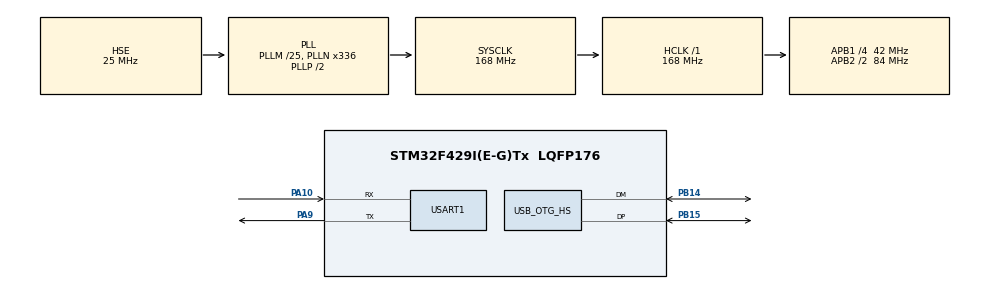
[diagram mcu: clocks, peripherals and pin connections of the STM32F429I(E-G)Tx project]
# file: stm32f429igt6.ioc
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Mcu.Family=STM32F4
Mcu.Name=STM32F429I(E-G)Tx
Mcu.Package=LQFP176
NVIC.OTG_HS_IRQn=true\:0\:0\:false\:false\:true\:true\:true
NVIC.PriorityGroup=NVIC_PRIORITYGROUP_4
PA10.Mode=Asynchronous
PA10.Signal=USART1_RX
PA9.Mode=Asynchronous
PA9.Signal=USART1_TX
PB14.Mode=Device_Only_FS
PB14.Signal=USB_OTG_HS_DM
PB15.Mode=Device_Only_FS
PB15.Signal=USB_OTG_HS_DP
PH0/OSC_IN.Mode=HSE-External-Oscillator
PH0/OSC_IN.Signal=RCC_OSC_IN
PH1/OSC_OUT.Mode=HSE-External-Oscillator
PH1/OSC_OUT.Signal=RCC_OSC_OUT
ProjectManager.HeapSize=0x200
ProjectManager.StackSize=0x400
ProjectManager.TargetToolchain=MDK-ARM V5.27
RCC.48MHZClocksFreq_Value=48000000
RCC.AHBFreq_Value=168000000
RCC.APB1CLKDivider=RCC_HCLK_DIV4
RCC.APB1Freq_Value=42000000
RCC.APB1TimFreq_Value=84000000
RCC.APB2CLKDivider=RCC_HCLK_DIV2
RCC.APB2Freq_Value=84000000
RCC.APB2TimFreq_Value=168000000
RCC.CortexFreq_Value=168000000
RCC.HCLKFreq_Value=168000000
RCC.HSE_VALUE=25000000
RCC.HSI_VALUE=16000000
RCC.LSE_VALUE=32768
RCC.PLLM=25
RCC.PLLN=336
RCC.PLLQ=7
RCC.SYSCLKFreq_VALUE=168000000
RCC.SYSCLKSource=RCC_SYSCLKSOURCE_PLLCLK
RCC.VCOOutputFreq_Value=336000000
USART1.VirtualMode=VM_ASYNC
USB_OTG_HS.VirtualMode-Device_Only_FS=Device_Only_FS
board=custom

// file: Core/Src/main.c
/* USER CODE BEGIN Header */
/**
  ******************************************************************************
  * @file           : main.c
  * @brief          : Main program body
  ******************************************************************************
  * @attention
  *
  * <h2><center>&copy; Copyright (c) 2021 STMicroelectronics.
  * All rights reserved.</center></h2>
  *
  * This software component is licensed by ST under BSD 3-Clause license,
  * the "License"; You may not use this file except in compliance with the
  * License. You may obtain a copy of the License at:
  *                        opensource.org/licenses/BSD-3-Clause
  *
  ******************************************************************************
  */
/* USER CODE END Header */
#include "main.h"

/* USER CODE BEGIN Includes */
#include "usbd_core.h"
#include "usbd_cdc.h"
#include "FreeRTOS.h"
#include "task.h"
/* USER CODE END Includes */

UART_HandleTypeDef huart1;

PCD_HandleTypeDef hpcd_USB_OTG_HS;

void SystemClock_Config(void);
static void MX_GPIO_Init(void);
static void MX_USB_OTG_HS_PCD_Init(void);
static void MX_USART1_UART_Init(void);

/* USER CODE BEGIN 0 */
int fputc(int ch, FILE *f)
{
  HAL_UART_Transmit(&huart1,(uint8_t*)&ch,1,1000);
  return ch;
}

void usb_dc_low_level_init(void)
{
  GPIO_InitTypeDef GPIO_InitStruct = {0};

  /* USER CODE BEGIN USB_OTG_HS_MspInit 0 */

  /* USER CODE END USB_OTG_HS_MspInit 0 */

    __HAL_RCC_GPIOB_CLK_ENABLE();
    /**USB_OTG_HS GPIO Configuration
    PB14     ------> USB_OTG_HS_DM
    PB15     ------> USB_OTG_HS_DP
    */
    GPIO_InitStruct.Pin = GPIO_PIN_14|GPIO_PIN_15;
    GPIO_InitStruct.Mode = GPIO_MODE_AF_PP;
    GPIO_InitStruct.Pull = GPIO_NOPULL;
    GPIO_InitStruct.Speed = GPIO_SPEED_FREQ_VERY_HIGH;
    GPIO_InitStruct.Alternate = GPIO_AF12_OTG_HS_FS;
    HAL_GPIO_Init(GPIOB, &GPIO_InitStruct);

    /* Peripheral clock enable */
    __HAL_RCC_USB_OTG_HS_CLK_ENABLE();
    /* USB_OTG_HS interrupt Init */
    HAL_NVIC_SetPriority(OTG_HS_IRQn, 0, 0);
    HAL_NVIC_EnableIRQ(OTG_HS_IRQn);
}

/* USER CODE END 0 */

int main(void)
{

  /* MCU Configuration--------------------------------------------------------*/

  /* Reset of all peripherals, Initializes the Flash interface and the Systick. */
  HAL_Init();

  /* Configure the system clock */
  SystemClock_Config();

  /* Initialize all configured peripherals */
  MX_GPIO_Init();
  //MX_USB_OTG_HS_PCD_Init();
  MX_USART1_UART_Init();
  /* USER CODE BEGIN 2 */

  extern void cdc_acm_msc_init(void);

  cdc_acm_msc_init();
#if defined(CONFIG_USBDEV_TX_THREAD) || defined(CONFIG_USBDEV_RX_THREAD)
  vTaskStartScheduler();
#endif
  /* USER CODE END 2 */

  /* Infinite loop */
  while (1)
  {

    /* USER CODE BEGIN 3 */
    extern void cdc_acm_data_send_with_dtr_test(void);
    cdc_acm_data_send_with_dtr_test();
    HAL_Delay(500);
  }
  /* USER CODE END 3 */
}

void SystemClock_Config(void)
{
  RCC_OscInitTypeDef RCC_OscInitStruct = {0};
  RCC_ClkInitTypeDef RCC_ClkInitStruct = {0};

  /** Configure the main internal regulator output voltage
  */
  __HAL_RCC_PWR_CLK_ENABLE();
  __HAL_PWR_VOLTAGESCALING_CONFIG(PWR_REGULATOR_VOLTAGE_SCALE1);
  /** Initializes the RCC Oscillators according to the specified parameters
  * in the RCC_OscInitTypeDef structure.
  */
  RCC_OscInitStruct.OscillatorType = RCC_OSCILLATORTYPE_HSE;
  RCC_OscInitStruct.HSEState = RCC_HSE_ON;
  RCC_OscInitStruct.PLL.PLLState = RCC_PLL_ON;
  RCC_OscInitStruct.PLL.PLLSource = RCC_PLLSOURCE_HSE;
  RCC_OscInitStruct.PLL.PLLM = 25;
  RCC_OscInitStruct.PLL.PLLN = 336;
  RCC_OscInitStruct.PLL.PLLP = RCC_PLLP_DIV2;
  RCC_OscInitStruct.PLL.PLLQ = 7;
  if (HAL_RCC_OscConfig(&RCC_OscInitStruct) != HAL_OK)
  {
    Error_Handler();
  }
  /** Initializes the CPU, AHB and APB buses clocks
  */
  RCC_ClkInitStruct.ClockType = RCC_CLOCKTYPE_HCLK|RCC_CLOCKTYPE_SYSCLK
                              |RCC_CLOCKTYPE_PCLK1|RCC_CLOCKTYPE_PCLK2;
  RCC_ClkInitStruct.SYSCLKSource = RCC_SYSCLKSOURCE_PLLCLK;
  RCC_ClkInitStruct.AHBCLKDivider = RCC_SYSCLK_DIV1;
  RCC_ClkInitStruct.APB1CLKDivider = RCC_HCLK_DIV4;
  RCC_ClkInitStruct.APB2CLKDivider = RCC_HCLK_DIV2;

  if (HAL_RCC_ClockConfig(&RCC_ClkInitStruct, FLASH_LATENCY_5) != HAL_OK)
  {
    Error_Handler();
  }
}

static void MX_USART1_UART_Init(void)
{

  huart1.Instance = USART1;
  huart1.Init.BaudRate = 115200;
  huart1.Init.WordLength = UART_WORDLENGTH_8B;
  huart1.Init.StopBits = UART_STOPBITS_1;
  huart1.Init.Parity = UART_PARITY_NONE;
  huart1.Init.Mode = UART_MODE_TX_RX;
  huart1.Init.HwFlowCtl = UART_HWCONTROL_NONE;
  huart1.Init.OverSampling = UART_OVERSAMPLING_16;
  if (HAL_UART_Init(&huart1) != HAL_OK)
  {
    Error_Handler();
  }

}

static void MX_USB_OTG_HS_PCD_Init(void)
{

  hpcd_USB_OTG_HS.Instance = USB_OTG_HS;
  hpcd_USB_OTG_HS.Init.dev_endpoints = 6;
  hpcd_USB_OTG_HS.Init.speed = PCD_SPEED_FULL;
  hpcd_USB_OTG_HS.Init.dma_enable = DISABLE;
  hpcd_USB_OTG_HS.Init.phy_itface = USB_OTG_EMBEDDED_PHY;
  hpcd_USB_OTG_HS.Init.Sof_enable = DISABLE;
  hpcd_USB_OTG_HS.Init.low_power_enable = DISABLE;
  hpcd_USB_OTG_HS.Init.lpm_enable = DISABLE;
  hpcd_USB_OTG_HS.Init.vbus_sensing_enable = DISABLE;
  hpcd_USB_OTG_HS.Init.use_dedicated_ep1 = DISABLE;
  hpcd_USB_OTG_HS.Init.use_external_vbus = DISABLE;
  if (HAL_PCD_Init(&hpcd_USB_OTG_HS) != HAL_OK)
  {
    Error_Handler();
  }

}

static void MX_GPIO_Init(void)
{

  /* GPIO Ports Clock Enable */
  __HAL_RCC_GPIOH_CLK_ENABLE();
  __HAL_RCC_GPIOB_CLK_ENABLE();
  __HAL_RCC_GPIOA_CLK_ENABLE();

}

void Error_Handler(void)
{
  __disable_irq();
  while (1)
  {
  }
}

/************************ (C) COPYRIGHT STMicroelectronics *****END OF FILE****/
